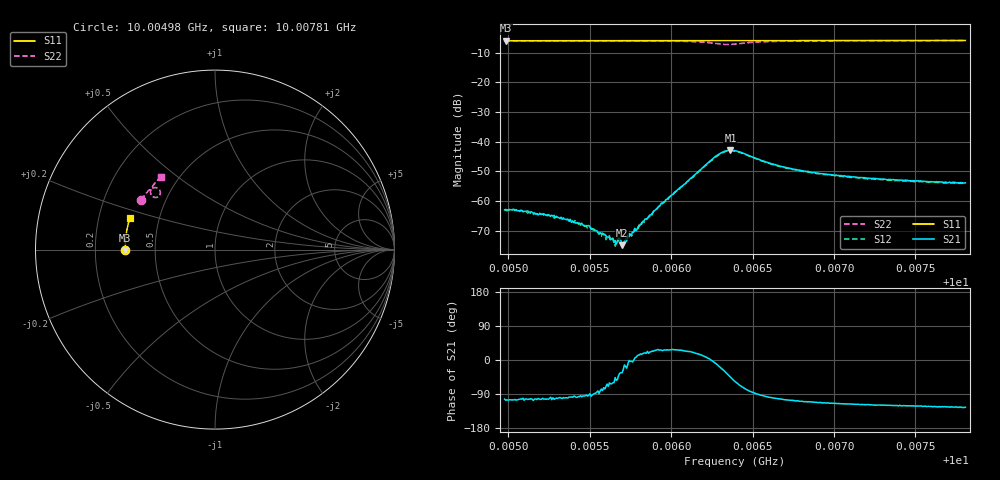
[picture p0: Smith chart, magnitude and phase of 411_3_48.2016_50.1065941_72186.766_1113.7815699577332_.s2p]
#  HZ  S  RI  R  50.00
! Rohde & Schwarz Vector Network Analyzer
! Rohde-Schwarz,ZNB20-2Port,1311601062101988,3.16
! Created: UTC 3/20/2024, 11:54:32 AM
! freq[Hz]  re:S11  im:S11  re:S21  im:S21  re:S12  im:S12  re:S22  im:S22
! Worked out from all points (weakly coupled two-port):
!   401 points, 10.00498 GHz to 10.00781 GHz, reference 50 ohm
!   highest |S21| = -42.85 dB at 10.00636 GHz (marker M1); lowest = -74.8 dB at 10.0057 GHz (marker M2)
!   lowest |S11| = -6.0 dB at 10.00498 GHz (marker M3), VSWR 3.00, Z = 16.7 - j0.153 ohm
!   |S11| at or under -10 dB: nowhere
!   |S22| runs from -7.3 to -6.0 dB; largest |S21 - S12| = 0.00041
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1.0004977e10  -0.4995 -0.00391  -0.000164 -0.000697  -0.000135 -0.000715  -0.4102 0.2761
1.0004984e10  -0.4995 -0.00343  -0.000202 -0.000695  -0.00016 -0.000681  -0.4099 0.2766
1.0005203e10  -0.4999 0.0108  -0.000141 -0.000582  -8.58e-05 -0.000597  -0.4019 0.2895
1.0005408e10  -0.4999 0.0241  -4.42e-05 -0.000434  -8.63e-05 -0.000464  -0.3934 0.3016
1.0005451e10  -0.4997 0.027  -5.22e-05 -0.000421  -9.93e-06 -0.000407  -0.3916 0.3042
1.0005493e10  -0.4998 0.0298  -2.07e-05 -0.000389  -2.09e-05 -0.000348  -0.3896 0.3069
1.0005613e10  -0.4996 0.0375  8.79e-05 -0.000234  0.000123 -0.000226  -0.3837 0.3141
1.0005628e10  -0.4996 0.0384  0.000103 -0.0002  0.000105 -0.000189  -0.383 0.315
1.0005649e10  -0.4994 0.0398  0.000102 -0.000174  0.000131 -0.000158  -0.3821 0.3162
1.0005698e10  -0.4991 0.0429  0.000152 -0.0001  0.000186 -5.74e-05  -0.3794 0.3193
1.0005713e10  -0.4992 0.0438  0.000207 -4.86e-05  0.000186 -5.84e-05  -0.3786 0.3202
1.0005734e10  -0.499 0.0453  0.00027 -4.9e-05  0.000236 -4.26e-05  -0.3773 0.3216
1.0005748e10  -0.4991 0.0462  0.00028 -1.83e-05  0.000268 -3.27e-05  -0.3765 0.3224
1.0005925e10  -0.498 0.0575  0.000736 0.000364  0.000709 0.00039  -0.3642 0.334
1.0006271e10  -0.4955 0.08  0.0056 -0.000804  0.00548 -0.000501  -0.3072 0.3291
1.0006321e10  -0.4948 0.0829  0.00602 -0.0031  0.00608 -0.00269  -0.3056 0.3088
1.0006363e10  -0.4944 0.0853  0.00504 -0.00514  0.00518 -0.00477  -0.3177 0.2938
1.0006392e10  -0.4942 0.087  0.00388 -0.00592  0.00408 -0.00557  -0.3292 0.2904
1.000666e10  -0.4921 0.1043  -0.00082 -0.00385  -0.000638 -0.00382  -0.3577 0.3331
1.0006866e10  -0.4895 0.1174  -0.00109 -0.00283  -0.00096 -0.00283  -0.3487 0.3525
1.000734e10  -0.4826 0.147  -0.00114 -0.00201  -0.00101 -0.00199  -0.3248 0.3813
1.0007806e10  -0.4737 0.1758  -0.00116 -0.00167  -0.00105 -0.00167  -0.3009 0.4032
